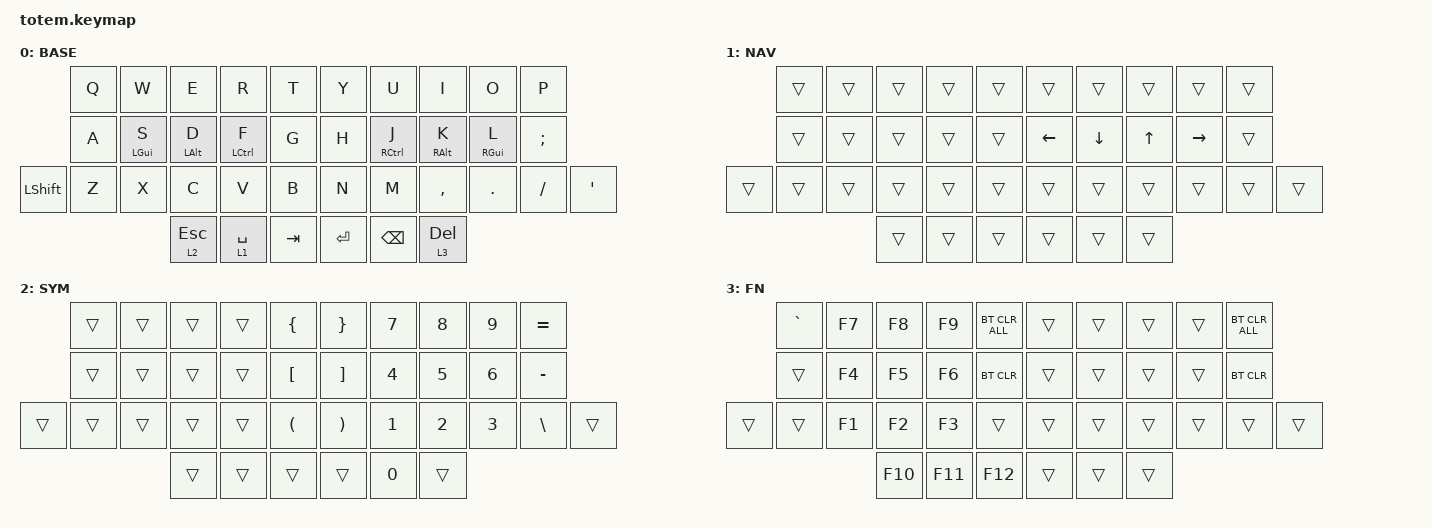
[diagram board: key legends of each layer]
//
//                                                        ▀▀▀▀▀     ▀▀▀▀▀          ▀▀█▀▀
//                                                        ▄▀▀▀▄  ▄  ▄▀▀▀▄  ▄  ▄▀▀▀▄  █  ▄▀▀▀▄
//                                                        █   █  █  █   █  █  █   █  █  █   █
//                                                         ▀▀▀   █   ▀▀▀   █   ▀▀▀   ▀   ▀▀▀
//                                                               █      ▄▄▄█▄▄▄    █   █  
//                                                               ▀      █  █  █     █▄█
//                                                             ▀▀▀▀▀    █  █  █      ▀
//                                                                      ▀  ▀  ▀
//
// ▄▄▄▄▄▄▄▄▄▄▄▄▄▄▄▄▄▄▄▄▄▄▄▄▄▄▄▄▄▄▄▄▄▄▄▄▄▄▄▄▄▄▄▄▄▄▄▄▄▄▄▄▄▄▄▄▄▄▄▄▄▄▄▄▄▄▄▄▄▄▄▄▄▄▄▄▄▄▄▄▄▄▄▄▄▄▄▄▄▄▄▄▄▄▄▄▄▄▄▄▄▄▄▄▄▄▄▄▄▄▄▄▄▄▄▄▄▄▄▄▄▄▄▄▄▄▄▄▄▄▄▄▄▄▄▄▄▄▄▄▄▄▄▄▄▄▄▄▄

#include <behaviors.dtsi>
#include <dt-bindings/zmk/bt.h>
#include <dt-bindings/zmk/keys.h>

#define BASE 0
#define NAV  1
#define SYM  2
#define FN   3
#define TVP1 4
#define TVP2 5

&mt {
    quick-tap-ms = <100>;
    global-quick-tap;
    flavor = "tap-preferred";
    tapping-term-ms = <170>;
};

/ {
    keymap {
        compatible = "zmk,keymap";

        // ▄▄▄▄▄▄▄▄▄▄▄▄▄▄▄▄▄▄▄▄▄▄▄▄▄▄▄▄▄▄▄▄▄▄▄▄▄▄▄▄▄▄▄▄▄▄▄▄▄▄▄▄▄▄▄▄▄▄▄▄▄▄▄▄▄▄▄▄▄▄▄▄▄▄▄▄▄▄▄▄▄▄▄▄▄▄▄▄▄▄▄▄▄▄▄▄▄▄▄▄▄▄▄▄▄▄▄▄▄▄▄▄▄▄▄▄▄▄▄▄▄▄▄▄▄▄▄▄▄▄▄▄▄▄▄▄▄▄▄▄▄▄▄▄▄▄▄▄▄

        base_layer {
            // ┏━━━━━━━━━━━━━━━━━━━━━━━━━━━━━━━━━━━━━━━┓

            label = "BASE";

            // ┗━━━━━━━━━━━━━━━━━━━━━━━━━━━━━━━━━━━━━━━┛
            //             ┏━━━━━━━━━━━┳━━━━━━━━━━━┳━━━━━━━━━━━┳━━━━━━━━━━━┳━━━━━━━━━━━┓   ┏━━━━━━━━━━━┳━━━━━━━━━━━┳━━━━━━━━━━━┳━━━━━━━━━━━┳━━━━━━━━━━━┓
            //             ┃     Q     ┃     W     ┃     E     ┃     R     ┃     T     ┃   ┃     Y     ┃     U     ┃     I     ┃     O     ┃     P     ┃
            //             ┣━━━━━━━━━━━╋━━━━━━━━━━━╋━━━━━━━━━━━╋━━━━━━━━━━━╋━━━━━━━━━━━┫   ┣━━━━━━━━━━━╋━━━━━━━━━━━╋━━━━━━━━━━━╋━━━━━━━━━━━╋━━━━━━━━━━━┫
            //             ┃     A     ┃     S     ┃     D     ┃     F     ┃     G     ┃   ┃     H     ┃     J     ┃     K     ┃     L     ┃     ;     ┃
            // ┏━━━━━━━━━━━╋━━━━━━━━━━━╋━━━━━━━━━━━╋━━━━━━━━━━━╋━━━━━━━━━━━╋━━━━━━━━━━━┫   ┣━━━━━━━━━━━╋━━━━━━━━━━━╋━━━━━━━━━━━╋━━━━━━━━━━━╋━━━━━━━━━━━╋━━━━━━━━━━━┓
            // ┃   SHIFT   ┃     Z     ┃     X     ┃     C     ┃     V     ┃     B     ┃   ┃     N     ┃     M     ┃     ,     ┃     .     ┃     /     ┃     '     ┃
            // ┗━━━━━━━━━━━┻━━━━━━━━━━━┻━━━━━━━━━━━╋━━━━━━━━━━━╋━━━━━━━━━━━╋━━━━━━━━━━━┫   ┣━━━━━━━━━━━╋━━━━━━━━━━━╋━━━━━━━━━━━╋━━━━━━━━━━━┻━━━━━━━━━━━┻━━━━━━━━━━━┛
            //                                     ┃  SYM/ESC  ┃ NAV/SPACE ┃    TAB    ┃   ┃   ENTER   ┃    BKSP   ┃   FN/DEL  ┃
            //                                     ┗━━━━━━━━━━━┻━━━━━━━━━━━┻━━━━━━━━━━━┛   ┗━━━━━━━━━━━┻━━━━━━━━━━━┻━━━━━━━━━━━┛

            bindings = <
                                &kp Q       &kp W       &kp E       &kp R       &kp T       &kp Y       &kp U       &kp I       &kp O       &kp P
                                &kp A       &mt LGUI S  &mt LALT D  &mt LCTRL F &kp G       &kp H       &mt RCTRL J &mt RALT K  &mt RGUI L  &kp SEMI
                    &kp LSHIFT  &kp Z       &kp X       &kp C       &kp V       &kp B       &kp N       &kp M       &kp COMMA   &kp DOT     &kp FSLH  &kp SQT
                                                        &lt 2 ESC &lt 1 SPACE &kp TAB   &kp ENTER   &kp BKSP    &lt 3 DEL
            >;
        };

        // ▄▄▄▄▄▄▄▄▄▄▄▄▄▄▄▄▄▄▄▄▄▄▄▄▄▄▄▄▄▄▄▄▄▄▄▄▄▄▄▄▄▄▄▄▄▄▄▄▄▄▄▄▄▄▄▄▄▄▄▄▄▄▄▄▄▄▄▄▄▄▄▄▄▄▄▄▄▄▄▄▄▄▄▄▄▄▄▄▄▄▄▄▄▄▄▄▄▄▄▄▄▄▄▄▄▄▄▄▄▄▄▄▄▄▄▄▄▄▄▄▄▄▄▄▄▄▄▄▄▄▄▄▄▄▄▄▄▄▄▄▄▄▄▄▄▄▄▄▄

        nav_layer {
            // ┏━━━━━━━━━━━━━━━━━━━━━━━━━━━━━━━━━━━━━━━┓

            label = "NAV";

            // ┗━━━━━━━━━━━━━━━━━━━━━━━━━━━━━━━━━━━━━━━┛
            //             ┏━━━━━━━━━━━┳━━━━━━━━━━━┳━━━━━━━━━━━┳━━━━━━━━━━━┳━━━━━━━━━━━┓   ┏━━━━━━━━━━━┳━━━━━━━━━━━┳━━━━━━━━━━━┳━━━━━━━━━━━┳━━━━━━━━━━━┓
            //             ┃           ┃           ┃           ┃           ┃           ┃   ┃           ┃           ┃           ┃           ┃           ┃
            //             ┣━━━━━━━━━━━╋━━━━━━━━━━━╋━━━━━━━━━━━╋━━━━━━━━━━━╋━━━━━━━━━━━┫   ┣━━━━━━━━━━━╋━━━━━━━━━━━╋━━━━━━━━━━━╋━━━━━━━━━━━╋━━━━━━━━━━━┫
            //             ┃           ┃           ┃           ┃           ┃           ┃   ┃    LEFT   ┃   DOWN    ┃    UP     ┃   RIGHT   ┃           ┃
            // ┏━━━━━━━━━━━╋━━━━━━━━━━━╋━━━━━━━━━━━╋━━━━━━━━━━━╋━━━━━━━━━━━╋━━━━━━━━━━━┫   ┣━━━━━━━━━━━╋━━━━━━━━━━━╋━━━━━━━━━━━╋━━━━━━━━━━━╋━━━━━━━━━━━╋━━━━━━━━━━━┓
            // ┃           ┃           ┃           ┃           ┃           ┃           ┃   ┃           ┃           ┃           ┃           ┃           ┃           ┃
            // ┗━━━━━━━━━━━┻━━━━━━━━━━━┻━━━━━━━━━━━╋━━━━━━━━━━━╋━━━━━━━━━━━╋━━━━━━━━━━━┫   ┣━━━━━━━━━━━╋━━━━━━━━━━━╋━━━━━━━━━━━╋━━━━━━━━━━━┻━━━━━━━━━━━┻━━━━━━━━━━━┛
            //                                     ┃           ┃           ┃           ┃   ┃           ┃           ┃           ┃
            //                                     ┗━━━━━━━━━━━┻━━━━━━━━━━━┻━━━━━━━━━━━┛   ┗━━━━━━━━━━━┻━━━━━━━━━━━┻━━━━━━━━━━━┛
            
            bindings = <
                                &trans      &trans      &trans      &trans      &trans        &trans        &trans      &trans      &trans       &trans
                                &trans      &trans      &trans      &trans      &trans        &kp LEFT      &kp DOWN    &kp UP      &kp RIGHT    &trans
                    &trans      &trans      &trans      &trans      &trans      &trans        &trans        &trans      &trans      &trans       &trans      &trans
                                                        &trans      &trans      &trans        &trans        &trans      &trans
            >;
        };

        // ▄▄▄▄▄▄▄▄▄▄▄▄▄▄▄▄▄▄▄▄▄▄▄▄▄▄▄▄▄▄▄▄▄▄▄▄▄▄▄▄▄▄▄▄▄▄▄▄▄▄▄▄▄▄▄▄▄▄▄▄▄▄▄▄▄▄▄▄▄▄▄▄▄▄▄▄▄▄▄▄▄▄▄▄▄▄▄▄▄▄▄▄▄▄▄▄▄▄▄▄▄▄▄▄▄▄▄▄▄▄▄▄▄▄▄▄▄▄▄▄▄▄▄▄▄▄▄▄▄▄▄▄▄▄▄▄▄▄▄▄▄▄▄▄▄▄▄▄▄

        sym_layer {
            // ┏━━━━━━━━━━━━━━━━━━━━━━━━━━━━━━━━━━━━━━━┓

            label = "SYM";

            // ┗━━━━━━━━━━━━━━━━━━━━━━━━━━━━━━━━━━━━━━━┛
            //             ┏━━━━━━━━━━━┳━━━━━━━━━━━┳━━━━━━━━━━━┳━━━━━━━━━━━┳━━━━━━━━━━━┓   ┏━━━━━━━━━━━┳━━━━━━━━━━━┳━━━━━━━━━━━┳━━━━━━━━━━━┳━━━━━━━━━━━┓
            //             ┃           ┃           ┃           ┃           ┃     {     ┃   ┃     }     ┃     7     ┃     8     ┃     9     ┃     =     ┃
            //             ┣━━━━━━━━━━━╋━━━━━━━━━━━╋━━━━━━━━━━━╋━━━━━━━━━━━╋━━━━━━━━━━━┫   ┣━━━━━━━━━━━╋━━━━━━━━━━━╋━━━━━━━━━━━╋━━━━━━━━━━━╋━━━━━━━━━━━┫
            //             ┃           ┃           ┃           ┃           ┃     [     ┃   ┃     ]     ┃     4     ┃     5     ┃     6     ┃     -     ┃
            // ┏━━━━━━━━━━━╋━━━━━━━━━━━╋━━━━━━━━━━━╋━━━━━━━━━━━╋━━━━━━━━━━━╋━━━━━━━━━━━┫   ┣━━━━━━━━━━━╋━━━━━━━━━━━╋━━━━━━━━━━━╋━━━━━━━━━━━╋━━━━━━━━━━━╋━━━━━━━━━━━┓
            // ┃           ┃           ┃           ┃           ┃           ┃     (     ┃   ┃     )     ┃     1     ┃     2     ┃     3     ┃     \     ┃           ┃
            // ┗━━━━━━━━━━━┻━━━━━━━━━━━┻━━━━━━━━━━━╋━━━━━━━━━━━╋━━━━━━━━━━━╋━━━━━━━━━━━┫   ┣━━━━━━━━━━━╋━━━━━━━━━━━╋━━━━━━━━━━━╋━━━━━━━━━━━┻━━━━━━━━━━━┻━━━━━━━━━━━┛
            //                                     ┃           ┃           ┃           ┃   ┃           ┃     0     ┃           ┃
            //                                     ┗━━━━━━━━━━━┻━━━━━━━━━━━┻━━━━━━━━━━━┛   ┗━━━━━━━━━━━┻━━━━━━━━━━━┻━━━━━━━━━━━┛

            bindings = <
                                &trans      &trans      &trans      &trans      &kp LBRC        &kp RBRC        &kp N7       &kp N8       &kp N9       &kp EQUAL
                                &trans      &trans      &trans      &trans      &kp LBKT        &kp RBKT        &kp N4       &kp N5       &kp N6       &kp MINUS
                    &trans      &trans      &trans      &trans      &trans      &kp LPAR        &kp RPAR        &kp N1       &kp N2       &kp N3       &kp BSLH       &trans
                                                        &trans      &trans      &trans          &trans          &kp N0       &trans
            >;
        };

        // ▄▄▄▄▄▄▄▄▄▄▄▄▄▄▄▄▄▄▄▄▄▄▄▄▄▄▄▄▄▄▄▄▄▄▄▄▄▄▄▄▄▄▄▄▄▄▄▄▄▄▄▄▄▄▄▄▄▄▄▄▄▄▄▄▄▄▄▄▄▄▄▄▄▄▄▄▄▄▄▄▄▄▄▄▄▄▄▄▄▄▄▄▄▄▄▄▄▄▄▄▄▄▄▄▄▄▄▄▄▄▄▄▄▄▄▄▄▄▄▄▄▄▄▄▄▄▄▄▄▄▄▄▄▄▄▄▄▄▄▄▄▄▄▄▄▄▄▄▄

        fn_layer {
            // ┏━━━━━━━━━━━━━━━━━━━━━━━━━━━━━━━━━━━━━━━┓
            
            label = "FN";
            
            // ┗━━━━━━━━━━━━━━━━━━━━━━━━━━━━━━━━━━━━━━━┛
            //             ┏━━━━━━━━━━━┳━━━━━━━━━━━┳━━━━━━━━━━━┳━━━━━━━━━━━┳━━━━━━━━━━━┓   ┏━━━━━━━━━━━┳━━━━━━━━━━━┳━━━━━━━━━━━┳━━━━━━━━━━━┳━━━━━━━━━━━┓
            //             ┃     `     ┃    F7     ┃    F8     ┃    F9     ┃BT_CLR_ALL ┃   ┃           ┃           ┃           ┃           ┃BT_CLR_ALL ┃
            //             ┣━━━━━━━━━━━╋━━━━━━━━━━━╋━━━━━━━━━━━╋━━━━━━━━━━━╋━━━━━━━━━━━┫   ┣━━━━━━━━━━━╋━━━━━━━━━━━╋━━━━━━━━━━━╋━━━━━━━━━━━╋━━━━━━━━━━━┫
            //             ┃           ┃    F4     ┃    F5     ┃    F6     ┃  BT_CLR   ┃   ┃           ┃           ┃           ┃           ┃  BT_CLR   ┃
            // ┏━━━━━━━━━━━╋━━━━━━━━━━━╋━━━━━━━━━━━╋━━━━━━━━━━━╋━━━━━━━━━━━╋━━━━━━━━━━━┫   ┣━━━━━━━━━━━╋━━━━━━━━━━━╋━━━━━━━━━━━╋━━━━━━━━━━━╋━━━━━━━━━━━╋━━━━━━━━━━━┓
            // ┃           ┃           ┃    F1     ┃    F2     ┃    F3     ┃           ┃   ┃           ┃           ┃           ┃           ┃           ┃           ┃
            // ┗━━━━━━━━━━━┻━━━━━━━━━━━┻━━━━━━━━━━━╋━━━━━━━━━━━╋━━━━━━━━━━━╋━━━━━━━━━━━┫   ┣━━━━━━━━━━━╋━━━━━━━━━━━╋━━━━━━━━━━━╋━━━━━━━━━━━┻━━━━━━━━━━━┻━━━━━━━━━━━┛
            //                                     ┃    F10    ┃    F11    ┃    F12    ┃   ┃           ┃           ┃           ┃
            //                                     ┗━━━━━━━━━━━┻━━━━━━━━━━━┻━━━━━━━━━━━┛   ┗━━━━━━━━━━━┻━━━━━━━━━━━┻━━━━━━━━━━━┛

            bindings = <
                                &kp GRAVE   &kp F7       &kp F8       &kp F9       &bt BT_CLR_ALL &trans     &trans      &trans      &trans      &bt BT_CLR_ALL
                                &trans      &kp F4       &kp F5       &kp F6       &bt BT_CLR    &trans      &trans      &trans      &trans      &bt BT_CLR
                    &trans      &trans      &kp F1       &kp F2       &kp F3       &trans        &trans      &trans      &trans      &trans      &trans      &trans
                                                        &kp F10       &kp F11      &kp F12       &trans      &trans      &trans
            >;
        };

        // ▄▄▄▄▄▄▄▄▄▄▄▄▄▄▄▄▄▄▄▄▄▄▄▄▄▄▄▄▄▄▄▄▄▄▄▄▄▄▄▄▄▄▄▄▄▄▄▄▄▄▄▄▄▄▄▄▄▄▄▄▄▄▄▄▄▄▄▄▄▄▄▄▄▄▄▄▄▄▄▄▄▄▄▄▄▄▄▄▄▄▄▄▄▄▄▄▄▄▄▄▄▄▄▄▄▄▄▄▄▄▄▄▄▄▄▄▄▄▄▄▄▄▄▄▄▄▄▄▄▄▄▄▄▄▄▄▄▄▄▄▄▄▄▄▄▄▄▄▄
        // ▄▄▄▄▄▄▄▄▄▄▄▄▄▄▄▄▄▄▄▄▄▄▄▄▄▄▄▄▄▄▄▄▄▄▄▄▄▄▄▄▄▄▄▄▄▄▄▄▄▄▄▄▄▄▄▄▄▄▄▄▄▄▄▄▄▄▄▄▄▄▄▄▄▄▄▄▄▄▄▄▄▄▄▄▄▄▄▄▄▄▄▄▄▄▄▄▄▄▄▄▄▄▄▄▄▄▄▄▄▄▄▄▄▄▄▄▄▄▄▄▄▄▄▄▄▄▄▄▄▄▄▄▄▄▄▄▄▄▄▄▄▄▄▄▄▄▄▄▄
        // ▄▄▄▄▄▄▄▄▄▄▄▄▄▄▄▄▄▄▄▄▄▄▄▄▄▄▄▄▄▄▄▄▄▄▄▄▄▄▄▄▄▄▄▄▄▄▄▄▄▄▄▄▄▄▄▄▄▄▄▄▄▄▄▄▄▄▄▄▄▄▄▄▄▄▄▄▄▄▄▄▄▄▄▄▄▄▄▄▄▄▄▄▄▄▄▄▄▄▄▄▄▄▄▄▄▄▄▄▄▄▄▄▄▄▄▄▄▄▄▄▄▄▄▄▄▄▄▄▄▄▄▄▄▄▄▄▄▄▄▄▄▄▄▄▄▄▄▄▄
        // ▄▄▄▄▄▄▄▄▄▄▄▄▄▄▄▄▄▄▄▄▄▄▄▄▄▄▄▄▄▄▄▄▄▄▄▄▄▄▄▄▄▄▄▄▄▄▄▄▄▄▄▄▄▄▄▄▄▄▄▄▄▄▄▄▄▄▄▄▄▄▄▄▄▄▄▄▄▄▄▄▄▄▄▄▄▄▄▄▄▄▄▄▄▄▄▄▄▄▄▄▄▄▄▄▄▄▄▄▄▄▄▄▄▄▄▄▄▄▄▄▄▄▄▄▄▄▄▄▄▄▄▄▄▄▄▄▄▄▄▄▄▄▄▄▄▄▄▄▄
    };
};
